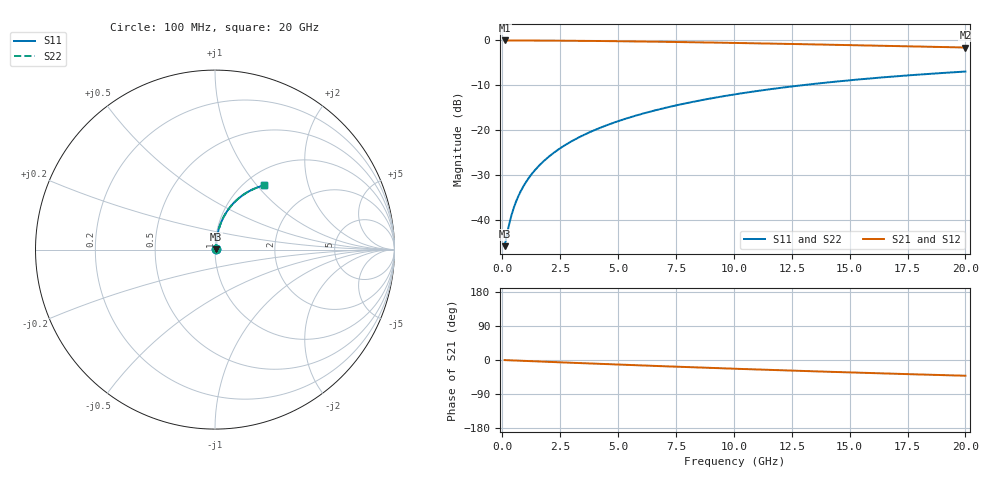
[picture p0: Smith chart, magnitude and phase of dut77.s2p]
! Touchstone file exported from HFSS 2024.1.0
!  File:  C:/UserFiles/LocalFiles/RDL_TSV_Batchsim/temp_RDL_bottom_77_1778694148.aedt
!  Generated:  01:45:07 AM May 14, 2026
!  Design:  RDL_bottom
!  Project:  temp_RDL_bottom_77_1778694148
!  Setup:  Setup1
!  Solution:  Sweep
! Variables:
!  dtsv = 10.80580581um
!  hbump = 3um
!  htsv = 79.93um
!  ldown = 519.15um
!  lrdl = 100um
!  p = 40
!  p1 = 54.22um
!  rhole = 1um
!  t = 450um
!  tdown = 2.65um
!  trdl = 3.915915916um
!  wdown = 16.2um
!  wrdl = 20um
# GHz S MA R 50.000000
! Terminal data exported
! Port[1] = RDL1_T1
! Port[2] = RDL1_T2
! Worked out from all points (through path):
!   200 points, 100 MHz to 20 GHz, reference 50 ohm
!   highest |S21| = -0.04 dB at 100 MHz (marker M1); lowest = -1.6 dB at 20 GHz (marker M2)
!   group delay of S21, straight-line fit = 5.76 ps
!   lowest |S11| = -45.7 dB at 100 MHz (marker M3), VSWR 1.01, Z = 50.4 + j0.268 ohm
!   |S11| at or under -10 dB: start of sweep to 12.91 GHz
!   |S22| runs from -45.7 to -6.9 dB; largest |S21 - S12| = 2.7e-15
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0.1  0.005186 30.8  0.9955 -0.3  0.9955 -0.3  0.005186 30.8
! Gamma 0 0 0 0
! Port Impedance 50 0 50 0
0.3  0.009172 59.4  0.9953 -0.8  0.9953 -0.8  0.009172 59.4
0.4  0.01152 65.2  0.9952 -1.0  0.9952 -1.0  0.01152 65.2
0.5  0.01393 69.0  0.995 -1.3  0.995 -1.3  0.01393 69.0
0.6  0.01635 71.6  0.9948 -1.5  0.9948 -1.5  0.01635 71.6
0.8  0.02122 74.9  0.9944 -2.0  0.9944 -2.0  0.02122 74.9
1.1  0.02856 77.7  0.9938 -2.7  0.9938 -2.7  0.02856 77.7
1.3  0.03348 78.8  0.9934 -3.2  0.9934 -3.2  0.03348 78.8
1.6  0.0409 79.9  0.9927 -3.9  0.9927 -3.9  0.04089 79.9
2.1  0.05333 80.8  0.9912 -5.1  0.9912 -5.1  0.05333 80.8
2.7  0.06834 81.0  0.989 -6.6  0.989 -6.6  0.06834 81.0
3.5  0.08848 80.7  0.9854 -8.5  0.9854 -8.5  0.08848 80.7
4.2  0.1062 80.0  0.9816 -10.1  0.9816 -10.1  0.1062 80.0
5  0.1264 79.1  0.9767 -12.0  0.9767 -12.0  0.1264 79.0
5.9  0.1492 77.8  0.9704 -14.1  0.9704 -14.1  0.1492 77.7
6.8  0.1718 76.3  0.9635 -16.1  0.9635 -16.1  0.1718 76.3
8.4  0.2115 73.5  0.9499 -19.6  0.9499 -19.6  0.2115 73.5
10.1  0.2525 70.4  0.934 -23.2  0.934 -23.2  0.2524 70.4
11.7  0.2894 67.4  0.9182 -26.4  0.9182 -26.4  0.2893 67.4
13.4  0.3267 64.2  0.9008 -29.8  0.9008 -29.8  0.3266 64.2
16.7  0.3926 58.2  0.866 -35.9  0.866 -35.9  0.3925 58.2
20  0.4498 52.7  0.8312 -41.5  0.8312 -41.5  0.4497 52.6
